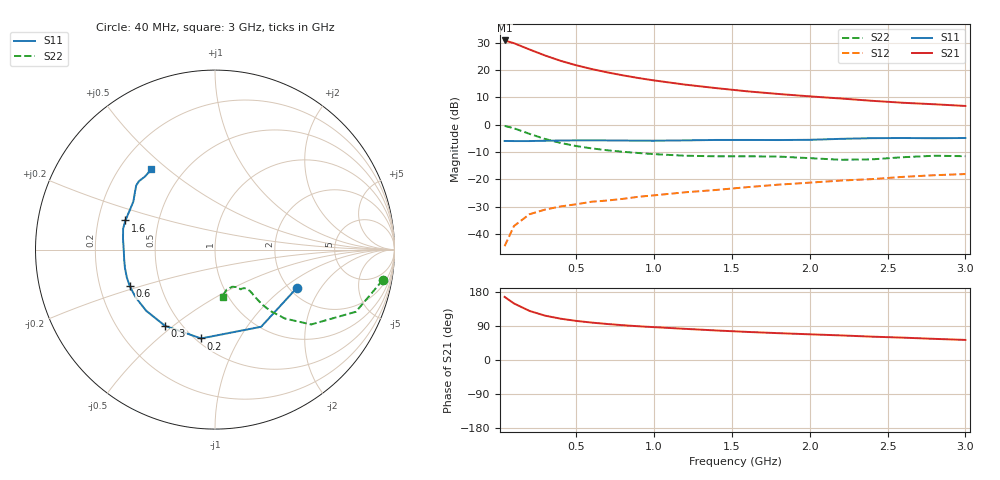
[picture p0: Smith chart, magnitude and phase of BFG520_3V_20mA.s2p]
! Filename:  BFG520E.S2P  Version:  2.1
! Philips part #: BFG520  Date: Feb 1992
! Bias condition: Vce=3V, Ic=20mA
! IN LINE PINNING: same data as with cross emitter pinning.
#  MHz  S  MA  R  50
! Freq  S11  S21  S12  S22  !GUM [dB]
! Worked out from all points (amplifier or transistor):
!   21 points, 40 MHz to 3 GHz, reference 50 ohm
!   highest |S21| = 30.8 dB at 40 MHz (marker M1)
!   |S21| within 3 dB of that: start of sweep to 186.9 MHz
!   unconditionally stable (mu >= 1): 889.5 MHz to end of sweep
!   at 300 MHz: K = 0.51, MSG = 28.2 dB, |S12| = -31.1 dB
!   at 1 GHz: K = 1.06, MAG = 19.5 dB, |S12| = -25.8 dB
!   at 3 GHz: K = 1.24, MAG = 9.5 dB, |S12| = -18.1 dB
!   lowest NFmin = 1.45 dB at 500 MHz
!   S11 on the Smith chart (normalised r, x): 40 MHz: 2.18, -1.25; 200 MHz: 0.53, -0.70; 300 MHz: 0.41, -0.47; 600 MHz: 0.33, -0.18; 1.6 GHz: 0.32, +0.14; 3 GHz: 0.33, +0.44
40  0.503 -25.2  34.61 166.5  0.006 78.4  0.95 -10.3
100  0.501 -59.1  30.84 149.3  0.014 68.8  0.858 -23.8
200  0.501 -98.9  23.67 129.5  0.023 57.2  0.679 -37.9
300  0.508 -123.2  18.37 117.0  0.028 53.0  0.547 -44.6
400  0.513 -138.4  14.68 109.0  0.032 52.7  0.463 -47.8
500  0.516 -148.9  12.18 103.2  0.035 52.1  0.406 -49.3
600  0.517 -156.7  10.38 98.7  0.039 53.2  0.368 -49.6
700  0.515 -162.8  9.027 95.0  0.041 54.8  0.34 -49.8
800  0.512 -168.5  7.974 91.8  0.044 56.8  0.319 -49.7
900  0.509 -173.8  7.115 89.0  0.048 59.0  0.303 -49.8
1000  0.508 -178.5  6.434 86.7  0.051 59.8  0.289 -50.4
1200  0.516 173.3  5.39 82.2  0.058 62.2  0.27 -52.6
1400  0.525 167.2  4.652 77.9  0.064 63.3  0.264 -55.5
1600  0.525 162.0  4.064 74.1  0.072 65.7  0.264 -57.0
1800  0.523 155.7  3.634 70.8  0.08 65.8  0.261 -57.4
2000  0.528 149.4  3.289 67.8  0.087 67.1  0.244 -59.1
2200  0.55 144.1  3.006 64.9  0.095 67.2  0.228 -65.1
2400  0.566 140.9  2.729 61.6  0.101 68.4  0.232 -73.7
2600  0.57 138.0  2.511 59.0  0.111 68.4  0.254 -79.0
2800  0.564 134.1  2.359 55.8  0.119 67.2  0.27 -80.0
3000  0.57 128.4  2.196 53.0  0.125 67.9  0.265 -80.8
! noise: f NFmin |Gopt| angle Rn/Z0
500  1.45  0.103  38  0.21
900  1.6  0.104  84  0.22
1000  1.65  0.118  84  0.24
2000  2.2  0.231  -177  0.16
